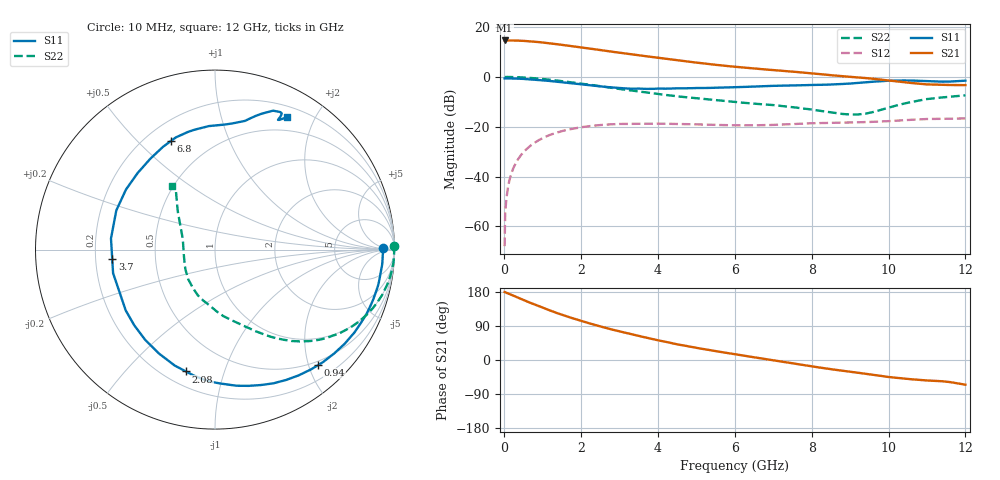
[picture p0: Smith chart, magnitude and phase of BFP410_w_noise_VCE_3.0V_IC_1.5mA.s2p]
! Infineon Technologies  Discrete & RF Semiconductors
! BFP410
! VCE =  3.0 V,  IC =  1.5 mA
! Common Emitter S-Parameters:  Nov 2015
# GHz  S  MA  R  50
!  f  S11  S21  S12  S22
! GHz  MAG  ANG  MAG  ANG  MAG  ANG  MAG  ANG
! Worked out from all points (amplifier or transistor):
!   243 points, 10 MHz to 12 GHz, reference 50 ohm
!   highest |S21| = 14.6 dB at 10 MHz (marker M1)
!   |S21| within 3 dB of that: start of sweep to 2.092 GHz
!   unconditionally stable (mu >= 1): 4.341 GHz to end of sweep
!   at 240 MHz: K = 0.03, MSG = 25.6 dB, |S12| = -36.5 dB
!   at 1.84 GHz: K = 0.32, MSG = 16.4 dB, |S12| = -20.6 dB
!   at 12 GHz: K = 1.19, MAG = 4.0 dB, |S12| = -16.6 dB
!   lowest NFmin = 0.80 dB at 900 MHz
!   S11 on the Smith chart (normalised r, x): 10 MHz: 29, +4; 940 MHz: 0.43, -2.16; 2.08 GHz: 0.28, -0.75; 3.7 GHz: 0.27, -0.04; 6.8 GHz: 0.30, +0.63; 12 GHz: 0.33, +1.63
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0.01  0.9334 0.5  5.395 179.5  0.0004 -52.4  1 1.0
0.02  0.9362 -0.3  5.366 179.3  0.0016 87.8  0.992 0.3
0.04  0.9357 -1.6  5.361 178.0  0.0026 87.2  0.9963 -0.4
0.095  0.9352 -4.8  5.382 176.0  0.0059 86.8  0.998 -2.2
0.18  0.9318 -9.1  5.388 172.3  0.0112 84.5  0.9958 -4.5
0.5  0.9122 -25.7  5.295 158.5  0.0309 76.0  0.9743 -12.7
0.7  0.8928 -36.0  5.177 150.1  0.0426 70.2  0.9523 -17.8
0.94  0.8627 -48.2  4.968 140.5  0.0559 63.5  0.9182 -23.4
1.4  0.7963 -71.4  4.51 122.9  0.0776 51.1  0.841 -33.3
1.7  0.7524 -85.8  4.21 112.7  0.0887 43.7  0.7886 -38.8
2.02  0.7077 -100.6  3.887 102.7  0.0981 36.7  0.7338 -44.0
2.08  0.6981 -103.4  3.83 100.9  0.0995 35.3  0.7232 -44.9
2.8  0.6165 -136.9  3.214 80.5  0.112 21.2  0.6023 -55.2
3.7  0.575 -174.6  2.596 59.0  0.1151 8.5  0.4865 -65.6
4.1  0.5811 170.8  2.375 50.1  0.115 4.2  0.4446 -70.5
5  0.5984 145.9  1.939 31.9  0.1117 -3.3  0.3733 -82.9
6.1  0.6243 123.7  1.573 13.7  0.1066 -7.0  0.3089 -96.6
6.8  0.6526 112.2  1.411 2.4  0.108 -7.5  0.2789 -107.5
8.2  0.6925 89.2  1.141 -19.8  0.1182 -11.5  0.2096 -138.4
9.2  0.7578 74.9  0.975 -33.6  0.1227 -14.6  0.1761 177.9
10.2  0.8435 65.9  0.815 -46.9  0.1324 -17.1  0.2661 138.9
12  0.8401 61.5  0.684 -65.1  0.1472 -28.8  0.4262 123.9
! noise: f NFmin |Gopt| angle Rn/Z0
0.45  0.83  0.58  8  0.37
0.9  0.8  0.56  23  0.31
1.8  1.07  0.45  56  0.26
2.4  1.14  0.41  67  0.25
5.5  2.37  0.4  -150  0.18
10  4.33  0.72  -58  2.98
